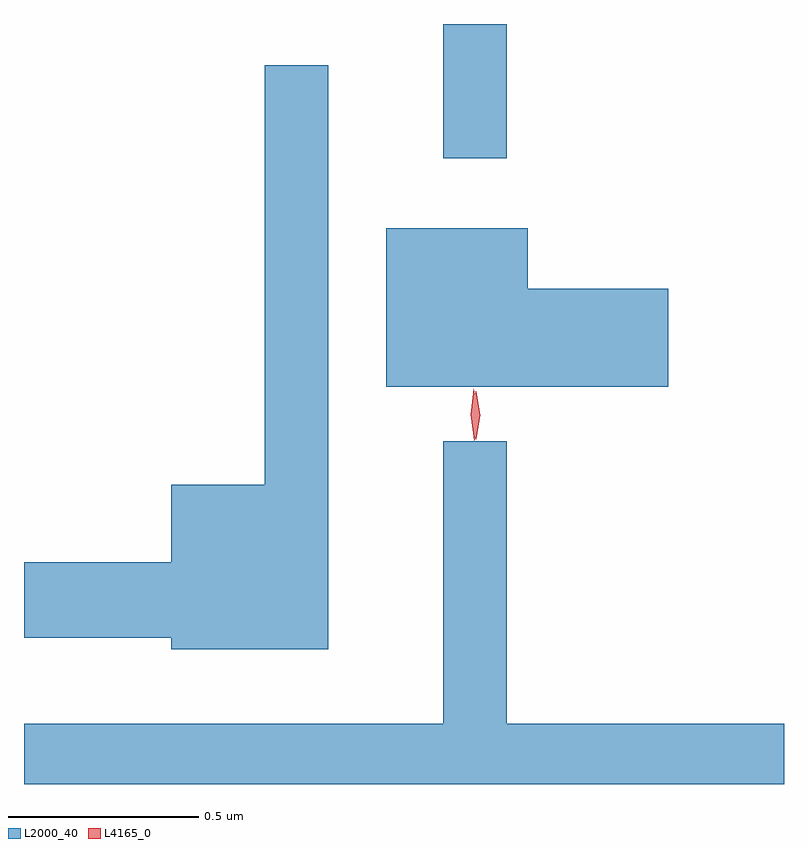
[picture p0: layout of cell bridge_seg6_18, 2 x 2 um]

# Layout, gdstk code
import gdstk
lib = gdstk.Library(unit=1e-6, precision=1e-09)
def R(c, l, rs):  # rectangles x0, y0, x1, y1
    for r in rs: c.add(gdstk.rectangle(r[:2], r[2:], *l))
def P(c, l, *ps):  # polygons
    for p in ps: c.add(gdstk.Polygon(p, *l))
L2000_40 = (2000, 40)
L4165_0 = (4165, 0)

bridge_seg6_18 = lib.new_cell('bridge_seg6_18')
R(bridge_seg6_18, L2000_40, [(1777.411,1667.233,1777.579,1667.586)])
P(bridge_seg6_18, L2000_40, [(1777.109,1667.478),(1776.941,1667.478),(1776.941,1666.374),(1776.696,1666.374),(1776.696,1666.169),(1776.308,1666.169),(1776.308,1665.971),(1776.696,1665.971),(1776.696,1665.941),(1777.109,1665.941)],
  [(1778.004,1666.889),(1777.634,1666.889),(1777.634,1667.049),(1777.261,1667.049),(1777.261,1666.631),(1778.004,1666.631)],
  [(1778.308,1665.744),(1777.579,1665.744),(1777.579,1666.488),(1777.411,1666.488),(1777.411,1665.744),(1776.308,1665.744),(1776.308,1665.586),(1778.308,1665.586)])
P(bridge_seg6_18, L4165_0, [(1777.493,1666.49),(1777.493,1666.49),(1777.483,1666.558),(1777.492,1666.626),(1777.492,1666.626),(1777.492,1666.626),(1777.502,1666.558),(1777.494,1666.49)],
  [(1777.497,1666.493),(1777.488,1666.556),(1777.497,1666.619),(1777.498,1666.62),(1777.498,1666.619),(1777.508,1666.556),(1777.498,1666.493),(1777.498,1666.493)])

lib.write_gds('bridge_seg6_18.gds')
